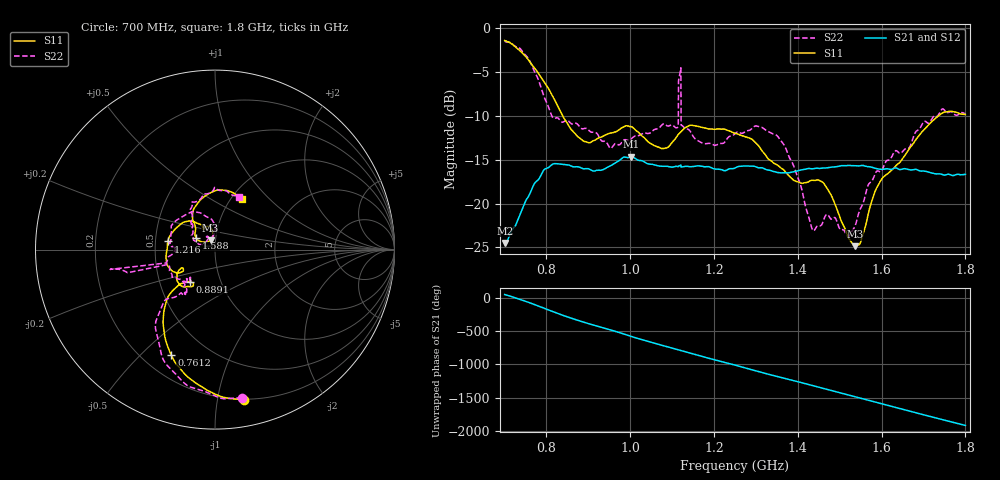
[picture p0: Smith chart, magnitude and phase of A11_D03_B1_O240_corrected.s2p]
! Created with skrf 1.9.0 (http://scikit-rf.org).
# Hz S RI R 50.0
!freq ReS11 ImS11 ReS21 ImS21 ReS12 ImS12 ReS22 ImS22
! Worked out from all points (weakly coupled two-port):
!   1601 points, 700 MHz to 1.8 GHz, reference 50 ohm
!   highest |S21| = -14.65 dB at 1.002 GHz (marker M1); lowest = -24.5 dB at 701.4 MHz (marker M2)
!   lowest |S11| = -24.9 dB at 1.536 GHz (marker M3), VSWR 1.12, Z = 47.4 + j4.9 ohm
!   |S11| at or under -10 dB: 838.6 MHz to 1.735 GHz (896.7 MHz wide, 69.7 % of centre)
!   |S22| runs from -23.8 to -1.5 dB; largest |S21 - S12| = 0.0035
!   S11 on the Smith chart (normalised r, x): 700 MHz: 0.20, -1.19; 761.2 MHz: 0.31, -0.62; 889.1 MHz: 0.71, -0.27; 1.216 GHz: 0.58, +0.06; 1.588 GHz: 0.80, +0.10; 1.8 GHz: 1.12, +0.71
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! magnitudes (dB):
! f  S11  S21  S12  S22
! 700 MHz  -1.4  -24.5  -24.3  -1.5
! 701.4 MHz  -1.4  -24.5  -24.1  -1.5
! 761.2 MHz  -3.9  -18.8  -18.7  -3.8
! 814.8 MHz  -7.8  -15.5  -15.6  -10.2
! 883.6 MHz  -12.7  -16.0  -15.9  -11.5
! 889.1 MHz  -12.9  -16.0  -16.0  -11.5
! 953 MHz  -12.0  -15.7  -15.7  -13.7
! 1.002 GHz  -11.2  -14.6  -14.8  -12.6
! 1.067 GHz  -13.6  -15.7  -15.6  -11.4
! 1.109 GHz  -12.5  -15.8  -15.8  -11.4
! 1.121 GHz  -11.8  -15.6  -15.5  -4.5
! 1.127 GHz  -11.5  -15.8  -15.8  -11.2
! 1.216 GHz  -11.5  -16.1  -16.1  -13.1
! 1.25 GHz  -12.0  -16.0  -15.9  -12.0
! 1.355 GHz  -15.7  -16.5  -16.4  -12.5
! 1.434 GHz  -17.3  -16.0  -16.0  -22.8
! 1.466 GHz  -18.0  -15.9  -15.9  -21.4
! 1.536 GHz  -24.9  -15.7  -15.7  -22.6
! 1.588 GHz  -18.2  -16.0  -16.0  -16.3
! 1.617 GHz  -16.5  -16.1  -16.0  -15.0
! 1.737 GHz  -9.9  -16.6  -16.7  -9.8
! 1.8 GHz  -9.8  -16.7  -16.7  -9.8
